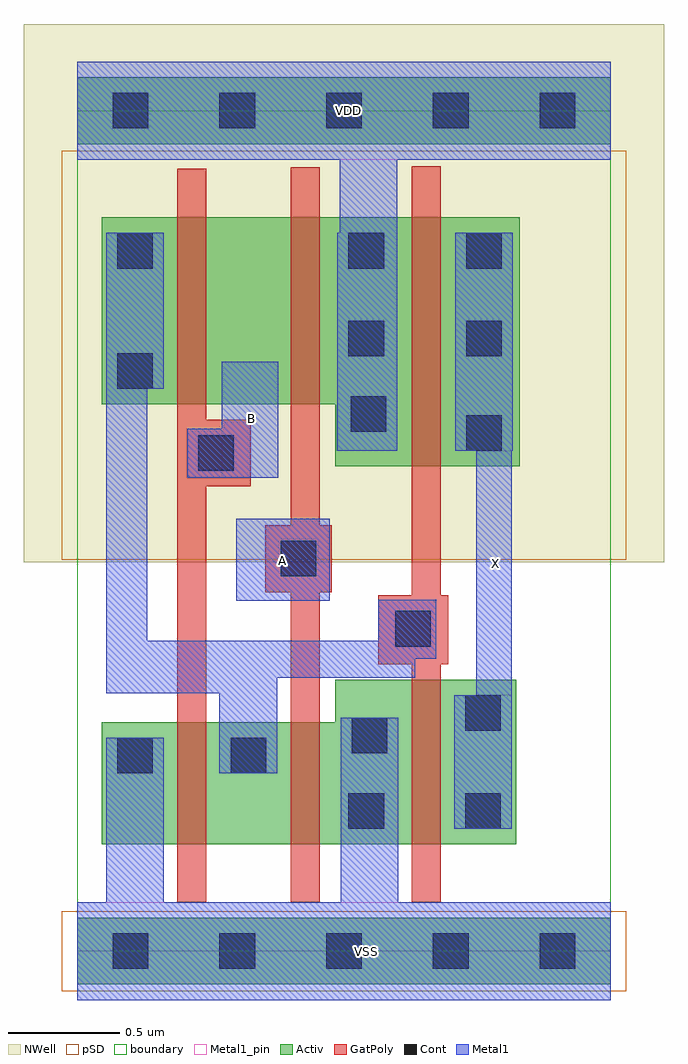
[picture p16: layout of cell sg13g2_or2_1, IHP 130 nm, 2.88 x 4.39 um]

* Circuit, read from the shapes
.subckt sg13g2_or2_1 A B VDD VSS X
XM1 n1 B VSS VSS sg13_lv_nmos w=0.55u l=0.13u
XM2 VSS A n1 VSS sg13_lv_nmos w=0.55u l=0.13u
XM3 X n1 VSS VSS sg13_lv_nmos w=0.74u l=0.13u
XM4 n2 B n1 VDD sg13_lv_pmos w=0.84u l=0.13u
XM5 VDD A n2 VDD sg13_lv_pmos w=0.84u l=0.13u
XM6 X n1 VDD VDD sg13_lv_pmos w=1.12u l=0.13u
.ends

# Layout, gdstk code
import gdstk
lib = gdstk.Library(unit=1e-6, precision=1e-09)
def R(c, l, rs):  # rectangles x0, y0, x1, y1
    for r in rs: c.add(gdstk.rectangle(r[:2], r[2:], *l))
def A(c, l, x, y, w, h, nx, ny, dx, dy):  # array of equal rectangles
    R(c, l, [(x+i*dx, y+j*dy, x+i*dx+w, y+j*dy+h) for i in range(nx) for j in range(ny)])
def P(c, l, *ps):  # polygons
    for p in ps: c.add(gdstk.Polygon(p, *l))
Activ = (1, 0)
GatPoly = (5, 0)
Cont = (6, 0)
Metal1 = (8, 0)
Metal1_pin = (8, 2)
pSD = (14, 0)
NWell = (31, 0)
boundary = (189, 4)

sg13g2_or2_1 = lib.new_cell('sg13g2_or2_1')
R(sg13g2_or2_1, Activ, [(0,-0.15,2.4,0.15), (0,3.63,2.4,3.93)])
P(sg13g2_or2_1, Activ, [(1.16,2.18),(1.16,2.46),(0.11,2.46),(0.11,3.3),(1.99,3.3),(1.99,2.18)],
  [(0.11,0.48),(0.11,1.03),(1.16,1.03),(1.16,1.22),(1.975,1.22),(1.975,0.48)])
R(sg13g2_or2_1, GatPoly, [(0.45,0.22,0.58,2.495), (0.96,0.22,1.09,2.395), (1.505,0.22,1.635,3.53), (1.355,1.29,1.67,1.6), (0.845,1.615,1.145,1.915), (0.48,2.09,0.78,2.39), (0.45,2.36,0.58,3.52), (0.96,2.36,1.09,3.525)])
A(sg13g2_or2_1, Cont, 0.16, -0.08, 0.16, 0.16, 5, 2, 0.48, 3.78)
R(sg13g2_or2_1, Cont, [(1.22,0.55,1.38,0.71), (1.745,0.55,1.905,0.71), (0.18,0.8,0.34,0.96), (0.69,0.8,0.85,0.96), (0.69,0.8,0.85,0.96), (1.235,0.89,1.395,1.05), (1.745,0.99,1.905,1.15), (1.43,1.37,1.59,1.53), (0.915,1.685,1.075,1.845), (0.545,2.16,0.705,2.32), (1.75,2.25,1.91,2.41), (1.23,2.335,1.39,2.495), (0.18,2.53,0.34,2.69), (1.22,2.675,1.38,2.835), (1.75,2.675,1.91,2.835), (0.18,3.07,0.34,3.23), (1.22,3.07,1.38,3.23), (1.22,3.07,1.38,3.23), (1.22,3.07,1.38,3.23), (1.75,3.07,1.91,3.23)])
R(sg13g2_or2_1, Metal1, [(0.715,1.575,1.135,1.945)])
P(sg13g2_or2_1, Metal1, [(1.695,0.55),(1.695,1.15),(1.795,1.15),(1.795,2.25),(1.7,2.25),(1.7,3.23),(1.96,3.23),(1.96,2.25),(1.955,2.25),(1.955,0.55)],
  [(0.64,0.8),(0.64,1.16),(0.13,1.16),(0.13,3.23),(0.39,3.23),(0.39,2.53),(0.315,2.53),(0.315,1.395),(1.355,1.395),(1.355,1.58),(1.615,1.58),(1.615,1.315),(1.52,1.315),(1.52,1.23),(0.9,1.23),(0.9,0.8)],
  [(0.495,2.13),(0.495,2.35),(0.65,2.35),(0.65,2.65),(0.905,2.65),(0.905,2.13)],
  [(0,-0.22),(0,0.22),(0.13,0.22),(0.13,0.96),(0.39,0.96),(0.39,0.22),(1.185,0.22),(1.185,1.05),(1.445,1.05),(1.445,0.22),(2.4,0.22),(2.4,-0.22)],
  [(1.17,2.25),(1.17,3.23),(1.18,3.23),(1.18,3.56),(0,3.56),(0,4),(2.4,4),(2.4,3.56),(1.44,3.56),(1.44,2.25)])
R(sg13g2_or2_1, Metal1_pin, [(0,-0.22,2.4,0.22), (1.795,1.15,1.955,2.25), (0.715,1.575,1.135,1.945), (0.65,2.13,0.905,2.65), (0,3.56,2.4,4)])
R(sg13g2_or2_1, pSD, [(-0.07,-0.18,2.47,0.18), (-0.07,1.76,2.47,3.6)])
R(sg13g2_or2_1, NWell, [(-0.24,1.75,2.64,4.17)])
R(sg13g2_or2_1, boundary, [(0,0,2.4,3.78)])
sg13g2_or2_1.add(gdstk.Label('A', (0.925,1.755), layer=8, texttype=25))
sg13g2_or2_1.add(gdstk.Label('VSS', (1.3,0), layer=8, texttype=25))
sg13g2_or2_1.add(gdstk.Label('B', (0.785,2.395), layer=8, texttype=25))
sg13g2_or2_1.add(gdstk.Label('X', (1.88,1.745), layer=8, texttype=25))
sg13g2_or2_1.add(gdstk.Label('VDD', (1.22,3.78), layer=8, texttype=25))

lib.write_gds('sg13g2_or2_1.gds')
